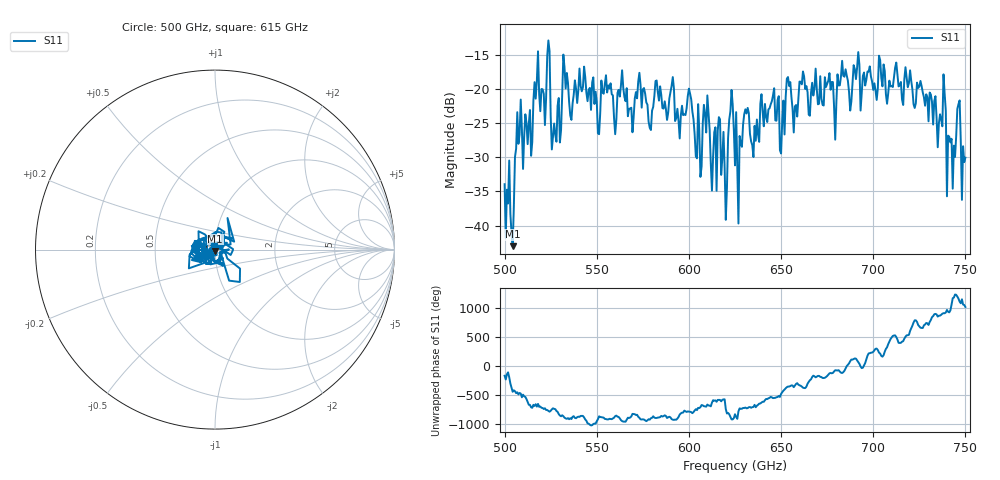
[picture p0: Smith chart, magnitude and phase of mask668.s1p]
!Created with skrf (http://scikit-rf.org).
# GHz S MA R 50.0
!freq magS11 angS11
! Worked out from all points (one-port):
!   401 points, 500 GHz to 750 GHz, reference 50 ohm
!   lowest |S11| = -43.0 dB at 504.4 GHz (marker M1), VSWR 1.01, Z = 50.1 - j0.701 ohm
!   |S11| at or under -10 dB: start of sweep to end of sweep
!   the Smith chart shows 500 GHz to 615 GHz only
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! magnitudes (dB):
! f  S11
! 500 GHz  -33.9
! 504.4 GHz  -43.0
! 507.5 GHz  -28.0
! 513.8 GHz  -23.1
! 516.9 GHz  -21.4
! 523.8 GHz  -12.9
! 526.9 GHz  -25.0
! 531.2 GHz  -20.8
! 562.5 GHz  -21.1
! 579.4 GHz  -26.0
! 590.6 GHz  -19.5
! 593.8 GHz  -22.9
! 600.6 GHz  -20.7
! 605.6 GHz  -26.1
! 609.4 GHz  -26.4
! 619.4 GHz  -31.5
! 622.5 GHz  -23.3
! 625 GHz  -31.2
! 627.5 GHz  -26.9
! 631.2 GHz  -23.6
! 635 GHz  -30.0
! 656.2 GHz  -22.9
! 687.5 GHz  -23.1
! 718.8 GHz  -19.7
! 738.1 GHz  -17.8
! 743.1 GHz  -34.6
! 746.2 GHz  -22.2
! 750 GHz  -30.0
